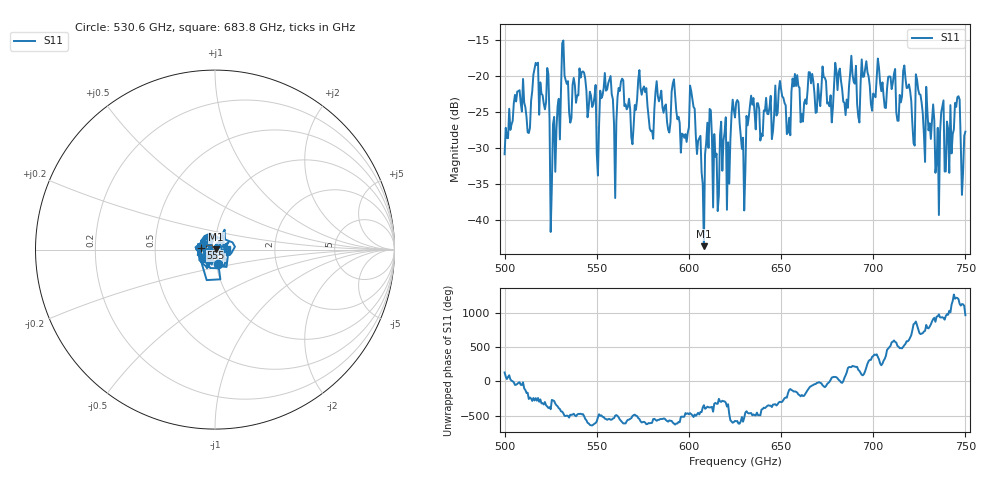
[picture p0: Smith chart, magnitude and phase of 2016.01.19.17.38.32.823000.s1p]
!Created with skrf (http://scikit-rf.org).
# GHz S RI R 50.0
!freq ReS11 ImS11
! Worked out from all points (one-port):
!   401 points, 500 GHz to 750 GHz, reference 50 ohm
!   lowest |S11| = -43.7 dB at 608.1 GHz (marker M1), VSWR 1.01, Z = 50.6 + j0.158 ohm
!   |S11| at or under -10 dB: start of sweep to end of sweep
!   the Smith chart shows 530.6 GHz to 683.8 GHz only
!   S11 on the Smith chart (normalised r, x): 530.6 GHz: 1.02, -0.17; 555 GHz: 0.85, +0.02; 683.8 GHz: 1.14, +0.01
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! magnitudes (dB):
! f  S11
! 500 GHz  -30.9
! 506.9 GHz  -22.2
! 513.1 GHz  -28.0
! 516.9 GHz  -18.2
! 523.1 GHz  -18.9
! 526.2 GHz  -26.8
! 530.6 GHz  -21.7
! 531.2 GHz  -15.5
! 551.2 GHz  -26.9
! 555 GHz  -22.1
! 560 GHz  -37.0
! 562.5 GHz  -22.1
! 593.8 GHz  -26.0
! 601.9 GHz  -23.2
! 608.1 GHz  -43.7
! 610.6 GHz  -30.0
! 614.4 GHz  -31.3
! 621.9 GHz  -35.0
! 625 GHz  -25.8
! 629.4 GHz  -28.6
! 633.8 GHz  -22.8
! 656.2 GHz  -20.4
! 683.8 GHz  -23.6
! 687.5 GHz  -19.6
! 718.8 GHz  -21.7
! 735 GHz  -27.2
! 745.6 GHz  -23.0
! 750 GHz  -27.8
